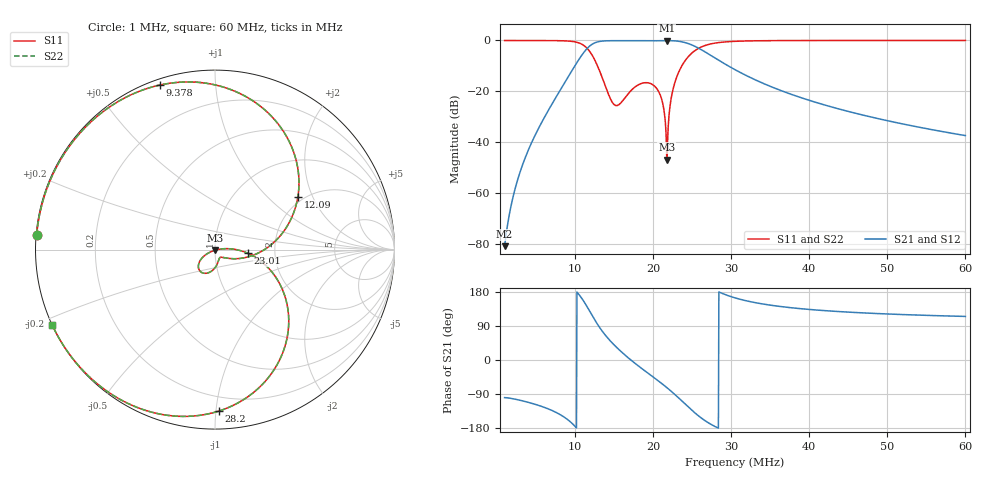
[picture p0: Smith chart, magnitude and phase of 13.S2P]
! 2-port S-parameter file Version 2.0 by Elsie 19/04/2023 08:46:56
[Version] 2.0
# MHz S DB R 50
[Number of Ports] 2
[Two-Port Data Order] 21_12
! Fstart: 1  Fstop: 60
[Reference]  50 50
! Freq:  S11 mag:  S11 angle:  S21 mag:  S21 angle:  S12 mag:  S12 angle:  S22 mag:  S22 angle:
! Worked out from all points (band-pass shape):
!   1001 points, 1 MHz to 60 MHz, reference 50 ohm
!   highest |S21| = -0.06 dB at 21.77 MHz (marker M1); lowest = -81.0 dB at 1 MHz (marker M2)
!   |S21| within 3 dB of the highest: 11.6 MHz to 25.85 MHz (14.25 MHz wide, 76.1 % of centre)
!   lowest |S11| = -46.9 dB at 21.77 MHz (marker M3), VSWR 1.01, Z = 49.8 - j0.422 ohm
!   |S11| at or under -10 dB: 12.89 MHz to 23.69 MHz (10.8 MHz wide, 59 % of centre)
!   |S22| runs from -46.9 to 0.0 dB; largest |S21 - S12| = 0
!   S11 on the Smith chart (normalised r, x): 1 MHz: 0.00, +0.04; 9.378 MHz: 0.03, +0.72; 12.09 MHz: 1.86, +1.57; 23.01 MHz: 1.45, -0.06; 28.2 MHz: 0.11, -1.02; 60 MHz: 0.00, -0.22
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[Number of Frequencies] 22
[Network Data]
1  -0.03 175.2  -80.97 -99.3  -80.97 -99.3  -0.03 175.2
2.239  -0.03 169.1  -59.60 -102.9  -59.60 -102.9  -0.03 169.1
3.714  -0.03 161.3  -45.58 -110.0  -45.58 -110.0  -0.03 161.3
7.136  -0.06 137.0  -24.66 -133.9  -24.66 -133.9  -0.06 137.0
9.378  -0.29 108.4  -13.11 -162.4  -13.11 -162.4  -0.29 108.4
10.853  -1.43 74.4  -5.93 163.5  -5.93 163.5  -1.43 74.4
12.092  -5.22 32.6  -1.74 121.7  -1.74 121.7  -5.22 32.6
13.567  -15.20 -14.9  -0.23 74.2  -0.23 74.2  -15.20 -14.9
14.924  -24.92 -48.3  -0.09 41.9  -0.09 41.9  -24.92 -48.3
15.986  -24.22 -70.0  -0.08 20.9  -0.08 20.9  -24.22 -70.0
18.641  -16.81 -113.7  -0.15 -23.7  -0.15 -23.7  -16.81 -113.7
20.706  -20.03 -144.2  -0.10 -55.5  -0.10 -55.5  -20.03 -144.2
21.237  -24.64 -151.2  -0.08 -63.9  -0.08 -63.9  -24.64 -151.2
21.768  -46.87 -110.9  -0.06 -72.7  -0.06 -72.7  -46.87 -110.9
22.417  -21.30 3.0  -0.10 -84.0  -0.10 -84.0  -21.30 3.0
23.007  -14.66 -6.5  -0.23 -94.9  -0.23 -94.9  -14.66 -6.5
25.249  -4.27 -48.2  -2.14 -137.5  -2.14 -137.5  -4.27 -48.2
28.199  -0.92 -88.6  -7.39 -178.2  -7.39 -178.2  -0.92 -88.6
30.5  -0.34 -106.4  -11.50 164.0  -11.50 164.0  -0.34 -106.4
40.353  -0.02 -137.4  -23.90 132.8  -23.90 132.8  -0.02 -137.4
50.206  -0.01 -148.9  -31.72 121.3  -31.72 121.3  -0.01 -148.9
60  -0.00 -155.1  -37.44 115.0  -37.44 115.0  -0.00 -155.1
[End]
